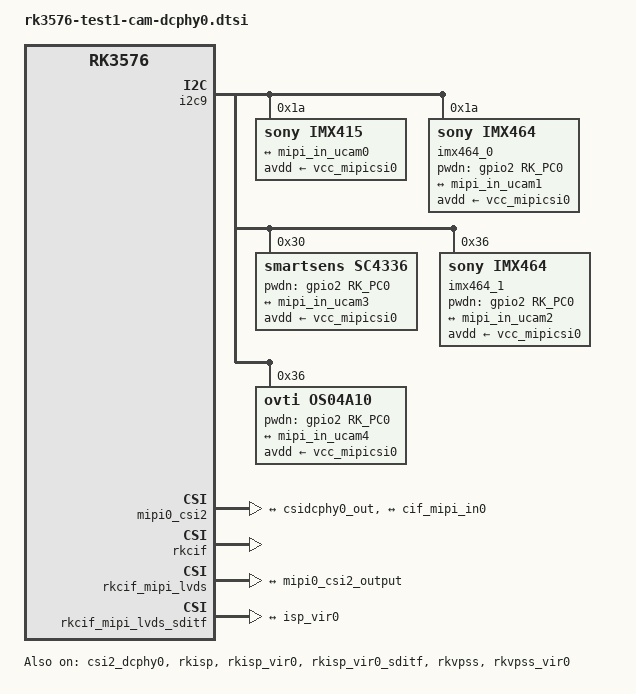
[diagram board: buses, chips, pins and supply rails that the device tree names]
// SPDX-License-Identifier: (GPL-2.0+ OR MIT)
/*
 * Copyright (c) 2024 Rockchip Electronics Co., Ltd.
 *
 */

&csi2_dcphy0 {
	status = "okay";

	ports {
		#address-cells = <1>;
		#size-cells = <0>;
		port@0 {
			reg = <0>;
			#address-cells = <1>;
			#size-cells = <0>;

			mipi_in_ucam0: endpoint@1 {
				reg = <1>;
				remote-endpoint = <&imx415_out0>;
				data-lanes = <1 2 3 4>;
			};

			mipi_in_ucam1: endpoint@2 {
				reg = <2>;
				remote-endpoint = <&imx464_out0>;
				data-lanes = <1 2>;
			};

			mipi_in_ucam2: endpoint@3 {
				reg = <3>;
				remote-endpoint = <&imx464_out1>;
				data-lanes = <1 2>;
			};

			mipi_in_ucam3: endpoint@4 {
				reg = <4>;
				remote-endpoint = <&sc4336_out>;
				data-lanes = <1 2>;
			};

			mipi_in_ucam4: endpoint@5 {
				reg = <5>;
				remote-endpoint = <&os04a10_out>;
				data-lanes = <1 2>;
			};
		};
		port@1 {
			reg = <1>;
			#address-cells = <1>;
			#size-cells = <0>;

			csidcphy0_out: endpoint@0 {
				reg = <0>;
				remote-endpoint = <&mipi0_csi2_input>;
			};
		};
	};
};

&i2c9 {
	status = "okay";
	pinctrl-0 = <&i2c9m2_xfer>;

	imx415: imx415@1a {
		compatible = "sony,imx415";
		reg = <0x1a>;
		clocks = <&cru CLK_MIPI_CAMERAOUT_M1>;
		clock-names = "xvclk";
		pinctrl-names = "default";
		pinctrl-0 = <&cam_clk1m1_clk1>;
		power-domains = <&power RK3576_PD_VI>;
		avdd-supply = <&vcc_mipicsi0>;
		// reset-gpios = <&gpio4 RK_PC6 GPIO_ACTIVE_LOW>;
		rockchip,camera-module-index = <0>;
		rockchip,camera-module-facing = "back";
		rockchip,camera-module-name = "CMK-OT2022-PX1";
		rockchip,camera-module-lens-name = "IR0147-50IRC-8M-F20";
		port {
			imx415_out0: endpoint {
				remote-endpoint = <&mipi_in_ucam0>;
				data-lanes = <1 2 3 4>;
			};
		};
	};

	imx464_0: imx464-0@1a {
		compatible = "sony,imx464";
		status = "okay";
		reg = <0x1a>;
		clocks = <&cru CLK_MIPI_CAMERAOUT_M1>;
		clock-names = "xvclk";
		power-domains = <&power RK3576_PD_VI>;
		// reset-gpios = <&gpio4 RK_PC6 GPIO_ACTIVE_HIGH>;
		pwdn-gpios = <&gpio2 RK_PC0 GPIO_ACTIVE_HIGH>;//rk3576 evb1 NC as default
		pinctrl-names = "default";
		pinctrl-0 = <&cam_clk1m1_clk1>;
		avdd-supply = <&vcc_mipicsi0>;
		rockchip,camera-module-index = <0>;
		rockchip,camera-module-facing = "back";
		rockchip,camera-module-name = "CMK-OT1980-PX1";
		rockchip,camera-module-lens-name = "SHG102";
		port {
			imx464_out0: endpoint {
				remote-endpoint = <&mipi_in_ucam1>;
				data-lanes = <1 2>;
			};
		};
	};

	sc4336: sc4336@30 {
		compatible = "smartsens,sc4336";
		status = "okay";
		reg = <0x30>;
		clocks = <&cru CLK_MIPI_CAMERAOUT_M1>;
		clock-names = "xvclk";
		power-domains = <&power RK3576_PD_VI>;
		pinctrl-names = "default";
		//reset-gpios = <&gpio4 RK_PC6 GPIO_ACTIVE_HIGH>;
		pwdn-gpios = <&gpio2 RK_PC0 GPIO_ACTIVE_HIGH>;//rk3576 evb1 NC as default
		pinctrl-0 = <&cam_clk1m1_clk1>;
		avdd-supply = <&vcc_mipicsi0>;
		rockchip,camera-module-index = <0>;
		rockchip,camera-module-facing = "back";
		rockchip,camera-module-name = "OT01";
		rockchip,camera-module-lens-name = "40IRC_F16";
		port {
			sc4336_out: endpoint {
				remote-endpoint = <&mipi_in_ucam3>;
				data-lanes = <1 2>;
			};
		};
	};

	imx464_1: imx464-1@36 {
		compatible = "sony,imx464";
		status = "okay";
		reg = <0x36>;
		clocks = <&cru CLK_MIPI_CAMERAOUT_M1>;
		clock-names = "xvclk";
		power-domains = <&power RK3576_PD_VI>;
		pinctrl-names = "default";
		// reset-gpios = <&gpio4 RK_PC6 GPIO_ACTIVE_HIGH>;
		pwdn-gpios = <&gpio2 RK_PC0 GPIO_ACTIVE_HIGH>;//rk3576 evb1 NC as default
		pinctrl-0 = <&cam_clk1m1_clk1>;
		avdd-supply = <&vcc_mipicsi0>;
		rockchip,camera-module-index = <0>;
		rockchip,camera-module-facing = "back";
		rockchip,camera-module-name = "CMK-OT1980-PX1";
		rockchip,camera-module-lens-name = "SHG102";
		port {
			imx464_out1: endpoint {
				remote-endpoint = <&mipi_in_ucam2>;
				data-lanes = <1 2>;
			};
		};
	};

	os04a10: os04a10@36 {
		compatible = "ovti,os04a10";
		status = "okay";
		reg = <0x36>;
		clocks = <&cru CLK_MIPI_CAMERAOUT_M1>;
		clock-names = "xvclk";
		power-domains = <&power RK3576_PD_VI>;
		pinctrl-names = "default";
		// reset-gpios = <&gpio4 RK_PC6 GPIO_ACTIVE_LOW>;
		pwdn-gpios = <&gpio2 RK_PC0 GPIO_ACTIVE_HIGH>;//rk3576 evb1 NC as default
		pinctrl-0 = <&cam_clk1m1_clk1>;
		avdd-supply = <&vcc_mipicsi0>;
		rockchip,camera-module-index = <0>;
		rockchip,camera-module-facing = "back";
		rockchip,camera-module-name = "CMK-OT1607-FV1";
		rockchip,camera-module-lens-name = "M12-40IRC-4MP-F16";
		port {
			os04a10_out: endpoint {
				remote-endpoint = <&mipi_in_ucam4>;
				data-lanes = <1 2>;
			};
		};
	};

};

&mipi0_csi2 {
	status = "okay";

	ports {
		#address-cells = <1>;
		#size-cells = <0>;

		port@0 {
			reg = <0>;
			#address-cells = <1>;
			#size-cells = <0>;

			mipi0_csi2_input: endpoint@1 {
				reg = <1>;
				remote-endpoint = <&csidcphy0_out>;
			};
		};

		port@1 {
			reg = <1>;
			#address-cells = <1>;
			#size-cells = <0>;

			mipi0_csi2_output: endpoint@0 {
				reg = <0>;
				remote-endpoint = <&cif_mipi_in0>;
			};
		};
	};
};

&rkcif {
	status = "okay";
};

&rkcif_mipi_lvds {
	status = "okay";

	port {
		cif_mipi_in0: endpoint {
			remote-endpoint = <&mipi0_csi2_output>;
		};
	};
};

&rkcif_mipi_lvds_sditf {
	status = "okay";

	port {
		mipi_lvds_sditf: endpoint {
			remote-endpoint = <&isp_vir0>;
		};
	};
};

&rkcif_mmu {
	status = "okay";
};

&rkisp {
	status = "okay";
};

&rkisp_mmu {
	status = "okay";
};

&rkisp_vir0 {
	status = "okay";

	port {
		#address-cells = <1>;
		#size-cells = <0>;

		isp_vir0: endpoint@0 {
			reg = <0>;
			remote-endpoint = <&mipi_lvds_sditf>;
		};
	};
};

&rkisp_vir0_sditf {
	status = "okay";
};

&rkvpss {
	status = "okay";
};

&rkvpss_mmu {
	status = "okay";
};

&rkvpss_vir0 {
	status = "okay";
};
